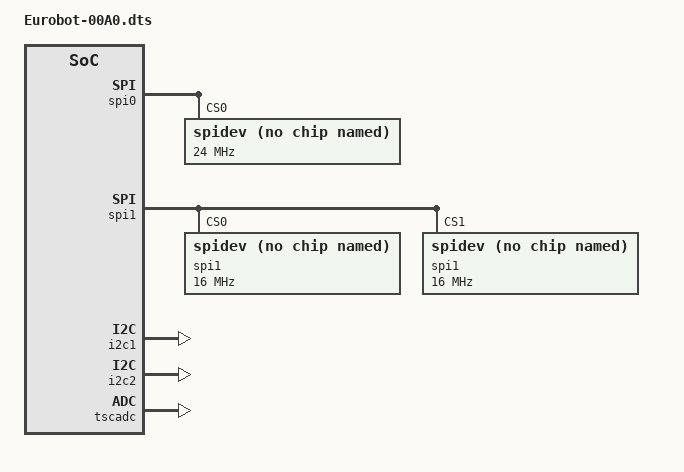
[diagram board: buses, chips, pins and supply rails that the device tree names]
/*
 * Eurobot Tree Overlay
 * This overlay is responsible for enabling the various components used for Eurobot and the corresponding cape.
 * The following features are enabled:
 *  - SPI0-0 on pins 17 (CS) 18 (DOutput) 21 (DInput) 22 (CLK)
 *  - SPI0-1 0 and 1 on pins 28 (CS0) 29 (DInput) 30 (DOutput) 31 (CLK) 42 (CS1)
 *  - I2C-1 on pins 19 (SCL) and 20 (SDA)
 *  - I2C-2 on pins 24 (SCL) and 26 (SDA)
 *  - GPIO 67-69-68-45-44-26-47-46 as input with pullup
 *  - GPIO 46-47 as output
 *  - all 7 analog input are enabled
 *
 * Note that the /dev/* names do not match those of the prots. For now:
 *  - I2C 1 maps to /dev/i2c-2
 *  - I2C 2 maps to /dev/i2c-1
 *  - SPI 0.0 maps to /dev/spidev1.0
 *  - SPI 1.0 maps to /dev/spidev2.0
 *  - SPI 1.1 maps to /dev/spidev2.1
 *
 * To change I2C frequency, please look at am335x-boneblack.dts.
 * To get pin offset and pin mode values, see for example:
 * http://www.embedded-things.com/bbb/beaglebone-black-pin-mux-spreadsheet/
 *
 * To compile this file run:
 * dtc -O dtb -o Eurobot-00A0.dtbo -b 00 -@ Eurobot-00A0.dts
 */
/dts-v1/;
/plugin/;


/ {
    compatible = "ti,beaglebone", "ti,beaglebone-black";

    /* identification */
    part-number = "eurobot";
	version = "00A0";

	/* Define pins with exclusive use */
	exclusive-use =
		"P9.11",
		"P9.12",
		"P9.13",
		"P9.14",
		"P9.17",
		"P9.18",
		"P9.19",
		"P9.20",
		"P9.21",
		"P9.22",
		"P9.24",
		"P9.26",
		"P9.28",
		"P9.29",
		"P9.30",
		"P9.31",
		"P9.42",
		"P9.39",
		"P9.40",
		"P9.37",
		"P9.38",
		"P9.33",
		"P9.36",
		"P9.35",
		"P8.7",
		"P8.8",
		"P8.9",
		"P8.10",
		"P8.11",
		"P8.12",
		"P8.14",
		"P8.15",
		"P8.16",
		"i2c1",
		"i2c2",
		"spi0",
		"spi1";

	/* Define pin usage*/
    fragment@0 {
        target = <&am33xx_pinmux>;
        __overlay__ {
            spi0_pins_s0: spi0_pins_s0 {
                        pinctrl-single,pins = <
                                0x150 0x30      /* P9.22 - CLK - INPUT_PULLUP | MODE0 */
                                0x154 0x30      /* P9.21 - DInput - INPUT_PULLUP | MODE0 */
                                0x158 0x10      /* P9.18 - DOutput - OUTPUT_PULLUP | MODE0 */
                                0x15C 0x10      /* P9.17 - CS0 - OUTPUT_PULLUP | MODE0 */
                >;
            };
            spi1_pins_s0: spi1_pins_s0 {
                        pinctrl-single,pins = <
                                0x190 0x33      /* P9.31 - CLK - INPUT_PULLUP | MODE3 */
                                0x194 0x33      /* P9.29 - DInput - INPUT_PULLUP | MODE3 */
                                0x198 0x13      /* P9.30 - DOutput - OUTPUT_PULLUP | MODE3 */
                                0x19C 0x13      /* P9.28 - CS0 - OUTPUT_PULLUP | MODE3 */
                                0x164 0x12      /* P9.42 - CS1 - OUTPUT_PULLUP | MODE2 */
                >;
            };

            i2c1_pins: i2c1_pins {
                        pinctrl-single,pins = <
                                0x184 0x33      /* P9.24 - SCL - INPUT_PULLUP | MODE3 */
                                0x180 0x33      /* P9.26 - SDA - INPUT_PULLUP | MODE3 */
                >;
            };
            i2c2_pins: i2c2_pins {
                        pinctrl-single,pins = <
                                0x17C 0x33      /* P9.19 - SCL - INPUT_PULLUP | MODE3 */
                                0x178 0x33      /* P9.20 - SDA - INPUT_PULLUP | MODE3 */
                >;
            };
            gpio_pins: gpio_pins {
				pinctrl-single,pins = <
								/* Exposed GPIO ports*/
                                0x090 0x37      /* P8.7 - GPIO66 - INPUT_PULLUP | MODE7 */
                                0x094 0x37      /* P8.8 - GPIO67 - INPUT_PULLUP | MODE7 */
                                0x09C 0x37      /* P8.9 - GPIO69 - INPUT_PULLUP | MODE7 */
                                0x098 0x37      /* P8.10 - GPIO68 - INPUT_PULLUP | MODE7 */
                                0x034 0x37      /* P8.11 - GPIO45 - INPUT_PULLUP | MODE7 */
                                0x030 0x37      /* P8.12 - GPIO44 - INPUT_PULLUP | MODE7 */
                                0x028 0x37      /* P8.14 - GPIO26 - INPUT_PULLUP | MODE7 */
								/* LED ports */
                                0x03C 0x07      /* P8.15 - GPIO47 - OUTPUT | MODE7 */
                                0x038 0x07      /* P8.16 - GPIO46 - OUTPUT | MODE7 */
                >;
            };
        };
    };

	/* SPI0*/
	fragment@1 {
        target = <&spi0>;
        __overlay__ {
             #address-cells = <1>;
             #size-cells = <0>;

             status = "okay";
             pinctrl-names = "default";
             pinctrl-0 = <&spi0_pins_s0>;

             spidev@0 {
                 spi-max-frequency = <24000000>;
                 reg = <0>;
                 compatible = "linux,spidev";
            };
        };
    };

	/* SPI1*/
   fragment@2 {
    target = <&spi1>;	/* spi1 is numbered correctly */
    __overlay__ {
      status = "okay";
      pinctrl-names = "default";
      pinctrl-0 = <&spi1_pins_s0>;

#address-cells = <1>;
#size-cells = <0>;

      cs-gpios = <0>, <0>;

      spi1@0 {
#address-cells = <1>;
#size-cells = <0>;
	compatible = "spidev";
	reg = <0>;
	spi-max-frequency = <16000000>;
	spi-cpol;
	spi-cpha;
      };

      spi1@1 {
#address-cells = <1>;
#size-cells = <0>;
	compatible = "spidev";
	reg = <1>;
	spi-max-frequency = <16000000>;
	spi-cpol;
	spi-cpha;
      };

    };
    };


    /* I2C1*/
    fragment@4 {
        target = <&i2c1>;
        __overlay__ {
             #address-cells = <1>;
             #size-cells = <0>;
             status = "okay";
             pinctrl-names = "default";
             pinctrl-0 = <&i2c1_pins>;
        };
    };

    /* I2C2*/
    fragment@5 {
        target = <&i2c2>;
        __overlay__ {
             #address-cells = <1>;
             #size-cells = <0>;
             status = "okay";
             pinctrl-names = "default";
             pinctrl-0 = <&i2c2_pins>;
        };
    };

    /* GPIO*/
    fragment@6 {
        target = <&ocp>;
        __overlay__ {
            Eurobot_pinmux: helper {
                compatible = "bone-pinmux-helper";
                pinctrl-names = "default";
                pinctrl-0 = <&gpio_pins>;
                status = "okay";
            };
        };
    };

    /* ADC */
    fragment@7 {
		target = <&tscadc>;
		__overlay__ {

			status = "okay";
			adc {
				ti,adc-channels = <0 1 2 3 4 5 6>;
				ti,chan-step-avg = <0x16 0x16 0x16 0x16 0x16 0x16 0x16>;
				ti,chan-step-opendelay = <0x98 0x98 0x98 0x98 0x98 0x98 0x98>;
				ti,chan-step-sampledelay = <0x0 0x0 0x0 0x0 0x0 0x0 0x0>;
			};
		};
};
};
